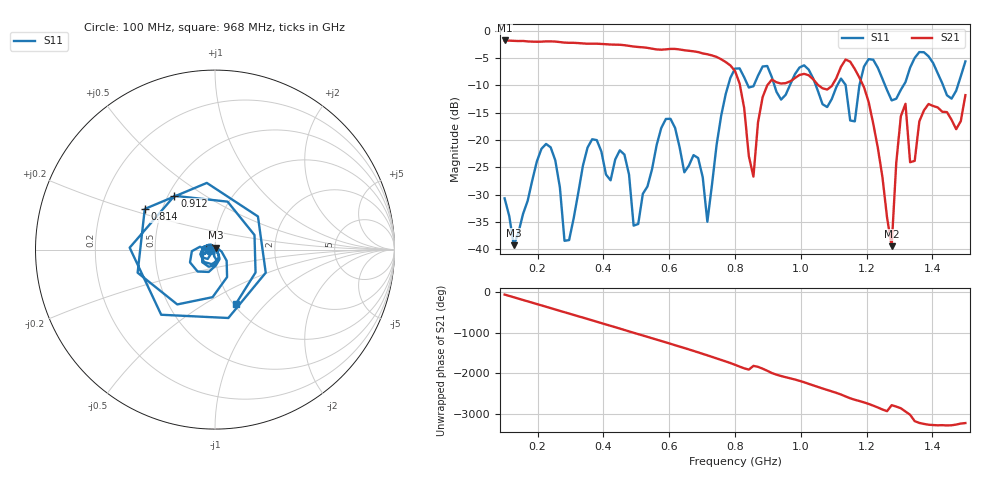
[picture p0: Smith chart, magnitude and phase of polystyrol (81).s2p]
! NanoVNA-App
! Date: 2025-09-26 09:42:30
! Start: 100MHz Stop: 1,5GHz Points: 101
! S-Parameter data: F S11 S21 S12 S22
# Hz S RI R 50
!  Frequency  S11_Real  S11_Imag  S21_Real  S21_Imag  S12_Real  S12_Imag  S22_Real  S22_Imag
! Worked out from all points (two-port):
!   101 points, 100 MHz to 1.5 GHz, reference 50 ohm
!   highest |S21| = -1.79 dB at 100 MHz (marker M1); lowest = -39.4 dB at 1.276 GHz (marker M2)
!   |S21| within 3 dB of the highest: start of sweep to 743.6 MHz
!   lowest |S11| = -39.2 dB at 128 MHz (marker M3), VSWR 1.02, Z = 50.3 + j1.06 ohm
!   |S11| at or under -10 dB: start of sweep to 779.3 MHz; 1.046 GHz to 1.111 GHz (65.14 MHz wide, 6.04 % of centre); 1.256 GHz to 1.312 GHz (55.91 MHz wide, 4.35 % of centre) (the widest 3 of 7)
!   S12 and S22 are empty: the file has one direction only
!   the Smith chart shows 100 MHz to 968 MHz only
!   S11 on the Smith chart (normalised r, x): 100 MHz: 0.94, -0.01; 814 MHz: 0.40, +0.23; 912 MHz: 0.54, +0.38; 968 MHz: 1.03, -0.69
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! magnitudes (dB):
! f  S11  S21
! 100 MHz  -30.7  -1.8
! 128 MHz  -39.2  -1.9
! 212 MHz  -21.6  -2.0
! 282 MHz  -38.4  -2.2
! 338 MHz  -24.7  -2.3
! 464 MHz  -22.6  -2.7
! 506 MHz  -35.3  -3.0
! 576 MHz  -17.8  -3.5
! 688 MHz  -23.3  -3.9
! 716 MHz  -34.9  -4.3
! 800 MHz  -6.9  -7.4
! 814 MHz  -6.9  -9.6
! 856 MHz  -10.2  -26.7
! 912 MHz  -8.5  -8.9
! 968 MHz  -9.8  -9.3
! 1.038 GHz  -8.8  -8.9
! 1.164 GHz  -16.6  -7.0
! 1.192 GHz  -6.5  -10.3
! 1.276 GHz  -12.7  -39.4
! 1.318 GHz  -9.4  -13.4
! 1.332 GHz  -6.8  -24.0
! 1.5 GHz  -5.6  -11.8
